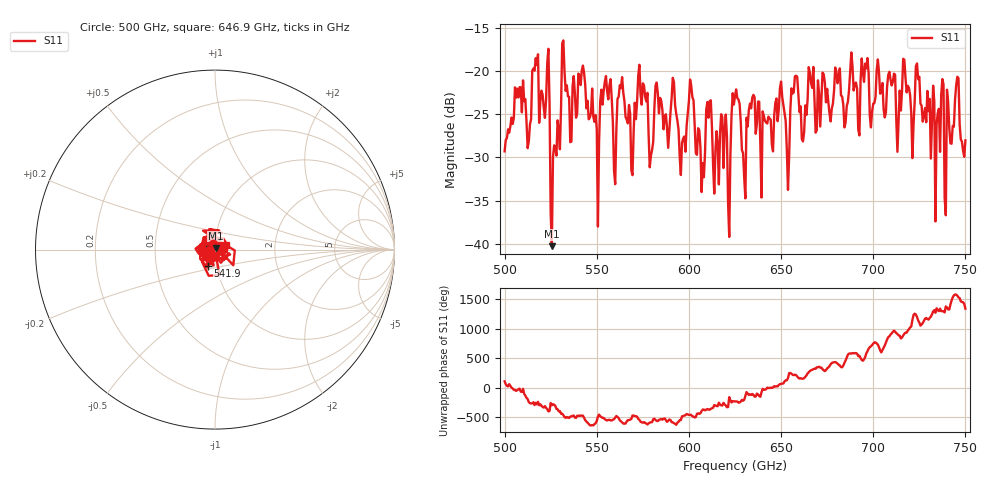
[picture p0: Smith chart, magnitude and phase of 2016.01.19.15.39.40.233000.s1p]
!Created with skrf (http://scikit-rf.org).
# GHz S RI R 50.0
!freq ReS11 ImS11
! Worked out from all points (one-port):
!   401 points, 500 GHz to 750 GHz, reference 50 ohm
!   lowest |S11| = -40.2 dB at 525.6 GHz (marker M1), VSWR 1.02, Z = 50.4 + j0.882 ohm
!   |S11| at or under -10 dB: start of sweep to end of sweep
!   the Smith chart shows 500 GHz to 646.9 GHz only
!   S11 on the Smith chart (normalised r, x): 500 GHz: 0.98, +0.06; 541.9 GHz: 0.91, -0.17; 646.9 GHz: 1.13, +0.05
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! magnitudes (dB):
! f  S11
! 500 GHz  -29.3
! 506.9 GHz  -22.0
! 513.1 GHz  -28.1
! 516.9 GHz  -18.5
! 523.1 GHz  -19.1
! 525.6 GHz  -40.2
! 531.2 GHz  -16.8
! 541.9 GHz  -20.0
! 550 GHz  -26.7
! 562.5 GHz  -21.7
! 568.8 GHz  -31.5
! 573.8 GHz  -22.7
! 593.8 GHz  -25.7
! 601.2 GHz  -21.7
! 607.5 GHz  -30.6
! 610.6 GHz  -25.4
! 621.9 GHz  -39.2
! 625 GHz  -22.9
! 629.4 GHz  -29.5
! 634.4 GHz  -23.1
! 646.9 GHz  -23.7
! 653.8 GHz  -33.7
! 656.2 GHz  -22.6
! 687.5 GHz  -20.1
! 718.8 GHz  -21.7
! 740 GHz  -22.2
! 745.6 GHz  -20.7
! 750 GHz  -28.0
